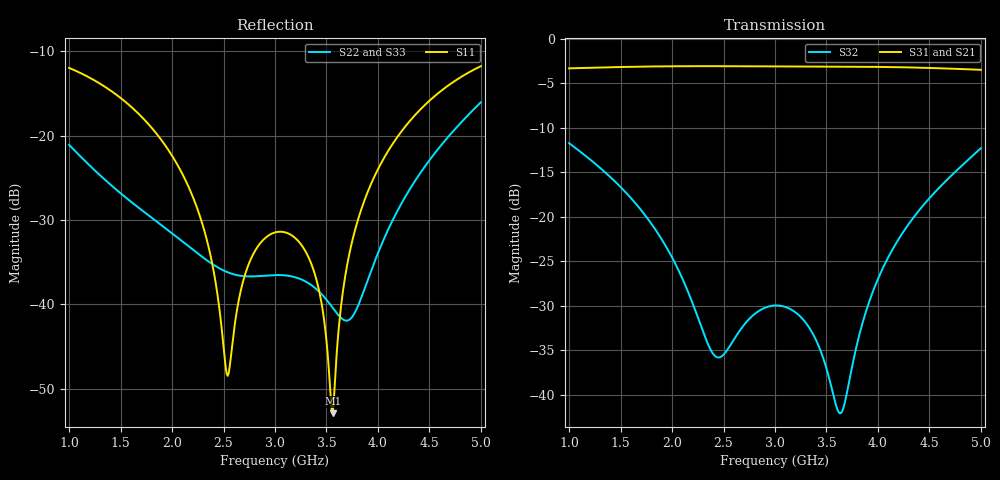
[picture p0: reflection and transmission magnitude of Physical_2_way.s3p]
! AWR Design Environment (19377) Sat Dec 27 00:59:09 2025
! Document = 'Physical_2_way'
! nPorts: 3, nXvals: 401
# GHz S DB R 50
!Freq DBS11 AngS11 DBS12 AngS12 DBS13 AngS13
!	DBS21 AngS21 DBS22 AngS22 DBS23 AngS23
!	DBS31 AngS31 DBS32 AngS32 DBS33 AngS33
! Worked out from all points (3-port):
!   401 points, 1 GHz to 5 GHz, reference 50 ohm
!   strongest paths, dB at 1 GHz, 2 GHz, 3 GHz, 4 GHz, 5 GHz:
!     S31: -3.3, -3.1, -3.1, -3.2, -3.5
!     S21: -3.3, -3.1, -3.1, -3.2, -3.5
!     S32: -11.8, -24.6, -30.0, -27.0, -12.3
!   lowest |S11| = -52.9 dB at 3.56 GHz (marker M1), VSWR 1.00, Z = 50.2 + j0.0638 ohm
!   |S11| at or under -10 dB: start of sweep to end of sweep
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1  -11.96 114.5  -3.35 -75.9  -3.35 -75.9
   -3.35 -75.9  -21.09 -3.6  -11.75 -105.9
   -3.35 -75.9  -11.75 -105.9  -21.09 -3.6
2.09  -24.30 42.4  -3.11 -161.6  -3.11 -161.6
      -3.11 -161.6  -32.45 -146.7  -26.71 155.7
      -3.11 -161.6  -26.71 155.7  -32.45 -146.7
2.54  -48.49 98.1  -3.11 162.8  -3.11 162.8
      -3.11 162.8  -36.20 -166.9  -34.92 24.6
      -3.11 162.8  -34.92 24.6  -36.20 -166.9
2.72  -36.06 161.4  -3.11 148.6  -3.11 148.6
      -3.11 148.6  -36.68 -168.9  -31.88 -15.0
      -3.11 148.6  -31.88 -15.0  -36.68 -168.9
3  -31.48 147.9  -3.13 126.5  -3.13 126.5
   -3.13 126.5  -36.53 -178.0  -29.99 -47.8
   -3.13 126.5  -29.99 -47.8  -36.53 -178.0
3.37  -35.78 119.5  -3.14 97.4  -3.14 97.4
      -3.14 97.4  -37.88 149.8  -33.22 -72.7
      -3.14 97.4  -33.22 -72.7  -37.88 149.8
3.56  -52.93 16.4  -3.15 82.3  -3.15 82.3
      -3.15 82.3  -40.41 115.9  -39.73 -59.7
      -3.15 82.3  -39.73 -59.7  -40.41 115.9
3.7  -35.40 -68.4  -3.15 71.2  -3.15 71.2
     -3.15 71.2  -41.94 68.9  -39.73 10.4
     -3.15 71.2  -39.73 10.4  -41.94 68.9
3.94  -25.53 -90.7  -3.18 52.1  -3.18 52.1
      -3.18 52.1  -35.83 -11.2  -28.76 28.9
      -3.18 52.1  -28.76 28.9  -35.83 -11.2
5  -11.75 -169.7  -3.51 -31.9  -3.51 -31.9
   -3.51 -31.9  -16.03 -145.7  -12.32 -36.2
   -3.51 -31.9  -12.32 -36.2  -16.03 -145.7
